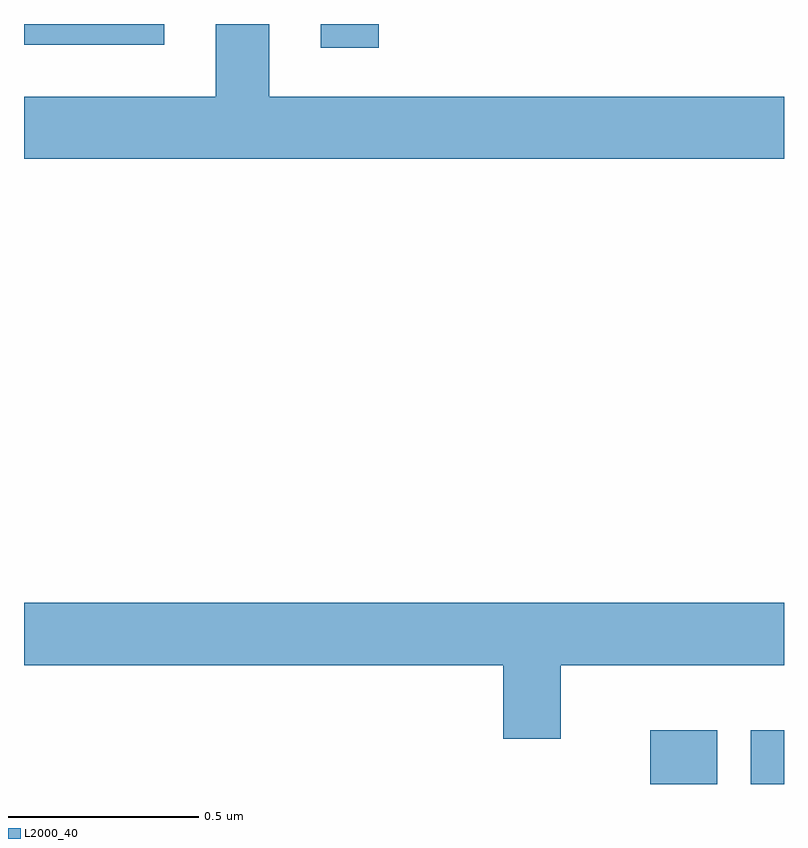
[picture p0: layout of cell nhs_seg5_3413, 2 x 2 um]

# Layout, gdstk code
import gdstk
lib = gdstk.Library(unit=1e-6, precision=1e-09)
def R(c, l, rs):  # rectangles x0, y0, x1, y1
    for r in rs: c.add(gdstk.rectangle(r[:2], r[2:], *l))
def P(c, l, *ps):  # polygons
    for p in ps: c.add(gdstk.Polygon(p, *l))
L2000_40 = (2000, 40)

nhs_seg5_3413 = lib.new_cell('nhs_seg5_3413')
R(nhs_seg5_3413, L2000_40, [(158.648,837.799,158.824,837.94), (158.912,837.799,159,837.94), (157.781,839.736,157.934,839.799), (157,839.744,157.369,839.799)])
P(nhs_seg5_3413, L2000_40, [(159,839.608),(157.645,839.608),(157.645,839.799),(157.505,839.799),(157.505,839.608),(157,839.608),(157,839.444),(159,839.444)],
  [(158.413,838.112),(159,838.112),(159,838.276),(157,838.276),(157,838.112),(158.261,838.112),(158.261,837.918),(158.413,837.918)])

lib.write_gds('nhs_seg5_3413.gds')
